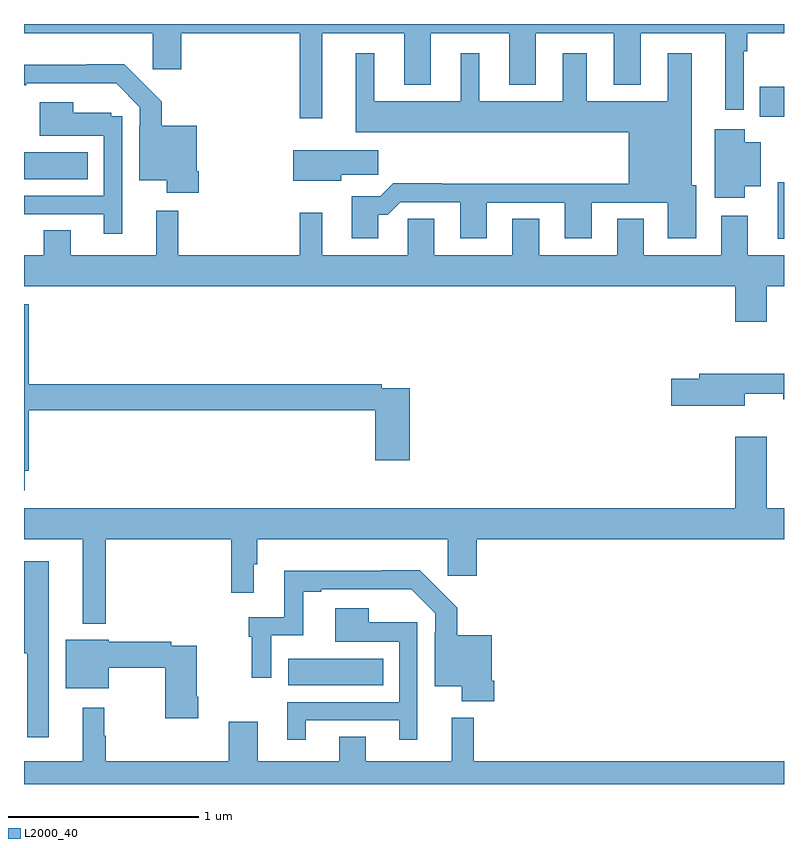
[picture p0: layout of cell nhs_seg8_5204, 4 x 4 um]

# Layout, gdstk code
import gdstk
lib = gdstk.Library(unit=1e-6, precision=1e-09)
def R(c, l, rs):  # rectangles x0, y0, x1, y1
    for r in rs: c.add(gdstk.rectangle(r[:2], r[2:], *l))
def P(c, l, *ps):  # polygons
    for p in ps: c.add(gdstk.Polygon(p, *l))
L2000_40 = (2000, 40)

nhs_seg8_5204 = lib.new_cell('nhs_seg8_5204')
R(nhs_seg8_5204, L2000_40, [(426.39,1094.42,426.89,1094.56), (428.966,1096.77,429,1097.067), (425,1097.084,425.336,1097.224), (428.872,1097.411,429,1097.569)])
P(nhs_seg8_5204, L2000_40, [(428.787,1097.756),(428.807,1097.756),(428.807,1097.852),(429,1097.852),(429,1097.9),(425,1097.9),(425,1097.852),(425.677,1097.852),(425.677,1097.661),(425.828,1097.661),(425.828,1097.852),(426.45,1097.852),(426.45,1097.403),(426.571,1097.403),(426.571,1097.852),(427.001,1097.852),(427.001,1097.579),(427.141,1097.579),(427.141,1097.852),(427.553,1097.852),(427.553,1097.579),(427.693,1097.579),(427.693,1097.852),(428.105,1097.852),(428.105,1097.579),(428.245,1097.579),(428.245,1097.852),(428.69,1097.852),(428.69,1097.448),(428.787,1097.448)],
  [(426.865,1096.895),(426.914,1096.895),(426.981,1096.962),(427.295,1096.962),(427.295,1096.773),(427.435,1096.773),(427.435,1096.959),(427.847,1096.959),(427.847,1096.773),(427.987,1096.773),(427.987,1096.959),(428.387,1096.959),(428.387,1096.773),(428.539,1096.773),(428.539,1097.052),(428.515,1097.052),(428.515,1097.746),(428.387,1097.746),(428.387,1097.494),(427.963,1097.494),(427.963,1097.746),(427.835,1097.746),(427.835,1097.494),(427.396,1097.494),(427.396,1097.746),(427.298,1097.746),(427.298,1097.494),(426.844,1097.494),(426.844,1097.746),(426.746,1097.746),(426.746,1097.33),(428.183,1097.33),(428.183,1097.06),(427.199,1097.06),(427.199,1097.063),(426.944,1097.063),(426.874,1096.993),(426.725,1096.993),(426.725,1096.773),(426.865,1096.773)],
  [(425.921,1097.125),(425.908,1097.125),(425.908,1097.365),(425.726,1097.365),(425.726,1097.491),(425.528,1097.689),(425.329,1097.689),(425.329,1097.686),(425,1097.686),(425,1097.577),(425.011,1097.577),(425.011,1097.589),(425.485,1097.589),(425.61,1097.463),(425.61,1097.363),(425.607,1097.363),(425.607,1097.078),(425.75,1097.078),(425.75,1097.013),(425.921,1097.013)],
  [(425.517,1097.415),(425.46,1097.415),(425.46,1097.434),(425.26,1097.434),(425.26,1097.488),(425.084,1097.488),(425.084,1097.312),(425.421,1097.312),(425.421,1096.995),(425,1096.995),(425,1096.899),(425.42,1096.899),(425.42,1096.797),(425.517,1096.797)],
  [(428.794,1097.045),(428.878,1097.045),(428.878,1097.278),(428.794,1097.278),(428.794,1097.347),(428.636,1097.347),(428.636,1096.986),(428.794,1096.986)],
  [(426.67,1097.107),(426.865,1097.107),(426.865,1097.236),(426.416,1097.236),(426.416,1097.075),(426.67,1097.075)],
  [(428.908,1096.52),(429,1096.52),(429,1096.684),(428.809,1096.684),(428.809,1096.891),(428.669,1096.891),(428.669,1096.684),(428.263,1096.684),(428.263,1096.874),(428.123,1096.874),(428.123,1096.684),(427.711,1096.684),(427.711,1096.874),(427.571,1096.874),(427.571,1096.684),(427.159,1096.684),(427.159,1096.874),(427.02,1096.874),(427.02,1096.684),(426.571,1096.684),(426.571,1096.906),(426.45,1096.906),(426.45,1096.684),(425.813,1096.684),(425.813,1096.918),(425.696,1096.918),(425.696,1096.684),(425.245,1096.684),(425.245,1096.814),(425.105,1096.814),(425.105,1096.684),(425,1096.684),(425,1096.52),(428.744,1096.52),(428.744,1096.332),(428.908,1096.332)],
  [(425.005,1095.55),(425.024,1095.55),(425.024,1095.868),(426.848,1095.868),(426.848,1095.603),(427.031,1095.603),(427.031,1095.984),(426.884,1095.984),(426.884,1096.004),(425.024,1096.004),(425.024,1096.425),(425,1096.425),(425,1095.446),(425.005,1095.446)],
  [(428.794,1095.955),(428.996,1095.955),(428.996,1095.926),(429,1095.926),(429,1096.058),(428.555,1096.058),(428.555,1096.032),(428.406,1096.032),(428.406,1095.89),(428.794,1095.89)],
  [(425.431,1095.188),(426.091,1095.188),(426.091,1094.907),(426.208,1094.907),(426.208,1095.056),(426.227,1095.056),(426.227,1095.188),(427.231,1095.188),(427.231,1094.997),(427.382,1094.997),(427.382,1095.188),(429,1095.188),(429,1095.352),(428.908,1095.352),(428.908,1095.727),(428.744,1095.727),(428.744,1095.352),(425,1095.352),(425,1095.188),(425.309,1095.188),(425.309,1094.744),(425.431,1094.744)],
  [(425.131,1095.073),(425,1095.073),(425,1094.588),(425.017,1094.588),(425.017,1094.145),(425.131,1094.145)],
  [(427.475,1094.443),(427.462,1094.443),(427.462,1094.683),(427.28,1094.683),(427.28,1094.827),(427.082,1095.025),(426.883,1095.025),(426.883,1095.022),(426.371,1095.022),(426.371,1094.778),(426.184,1094.778),(426.184,1094.675),(426.199,1094.675),(426.199,1094.46),(426.3,1094.46),(426.3,1094.682),(426.469,1094.682),(426.469,1094.913),(426.565,1094.913),(426.565,1094.925),(427.039,1094.925),(427.164,1094.799),(427.164,1094.699),(427.161,1094.699),(427.161,1094.414),(427.304,1094.414),(427.304,1094.335),(427.475,1094.335)],
  [(426.484,1094.235),(426.974,1094.235),(426.974,1094.133),(427.071,1094.133),(427.071,1094.752),(426.814,1094.752),(426.814,1094.824),(426.638,1094.824),(426.638,1094.648),(426.975,1094.648),(426.975,1094.331),(426.386,1094.331),(426.386,1094.133),(426.484,1094.133)],
  [(425.916,1094.359),(425.908,1094.359),(425.908,1094.628),(425.774,1094.628),(425.774,1094.648),(425.446,1094.648),(425.446,1094.659),(425.219,1094.659),(425.219,1094.405),(425.446,1094.405),(425.446,1094.512),(425.743,1094.512),(425.743,1094.247),(425.916,1094.247)],
  [(427.25,1094.25),(427.25,1094.02),(426.799,1094.02),(426.799,1094.15),(426.659,1094.15),(426.659,1094.02),(426.229,1094.02),(426.229,1094.227),(426.077,1094.227),(426.077,1094.02),(425.431,1094.02),(425.431,1094.153),(425.423,1094.153),(425.423,1094.302),(425.309,1094.302),(425.309,1094.02),(425,1094.02),(425,1093.9),(429,1093.9),(429,1094.02),(427.367,1094.02),(427.367,1094.25)])

lib.write_gds('nhs_seg8_5204.gds')
